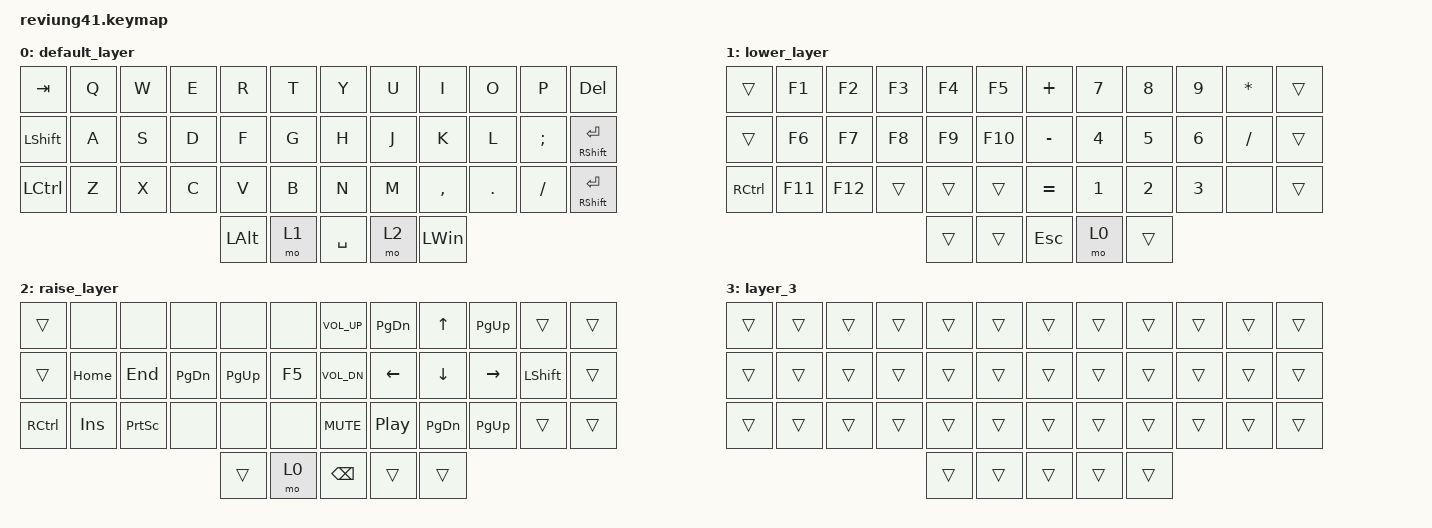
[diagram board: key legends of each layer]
/*
 * Copyright (c) 2020 The ZMK Contributors
 *
 * SPDX-License-Identifier: MIT
 */

#include <behaviors.dtsi>
#include <dt-bindings/zmk/keys.h>

/ {
    combos {
        compatible = "zmk,combos";

        U_I {
            bindings = <&kp DOUBLE_QUOTES>;
            key-positions = <7 8>;
        };

        I_O {
            bindings = <&kp SINGLE_QUOTE>;
            key-positions = <8 9>;
        };

        O_P {
            bindings = <&kp QUESTION>;
            key-positions = <9 10>;
        };

        J_K {
            bindings = <&kp BACKSPACE>;
            key-positions = <19 20>;
        };

        K_L {
            bindings = <&kp ENTER>;
            key-positions = <20 21>;
        };

        L_Semi {
            bindings = <&kp BACKSLASH>;
            key-positions = <21 22>;
        };

        M_Coma {
            bindings = <&kp RIGHT_PARENTHESIS>;
            key-positions = <31 32>;
        };

        Coma_Dot {
            bindings = <&kp RIGHT_BRACKET>;
            key-positions = <32 33>;
        };

        Dot_Backslash {
            bindings = <&kp RIGHT_BRACE>;
            key-positions = <33 34>;
        };

        Q_W {
            bindings = <&kp EXCLAMATION>;
            key-positions = <1 2>;
        };

        W_E {
            bindings = <&kp PERCENT>;
            key-positions = <2 3>;
        };

        E_R {
            bindings = <&kp UNDER>;
            key-positions = <3 4>;
        };

        A_S {
            bindings = <&kp AMPS>;
            key-positions = <13 14>;
        };

        S_D {
            bindings = <&kp ESC>;
            key-positions = <14 15>;
        };

        D_F {
            bindings = <&kp COLON>;
            key-positions = <15 16>;
        };

        Z_X {
            bindings = <&kp LEFT_BRACE>;
            key-positions = <25 26>;
        };

        X_C {
            bindings = <&kp LEFT_BRACKET>;
            key-positions = <26 27>;
        };

        C_V {
            bindings = <&kp LEFT_PARENTHESIS>;
            key-positions = <28 29>;
        };

        U_I_O {
            bindings = <&kp CARET>;
            key-positions = <7 8 9>;
        };

        I_O_P {
            bindings = <&kp TILDE>;
            key-positions = <8 9 10>;
        };

        W_E_R {
            bindings = <&kp DOLLAR>;
            key-positions = <2 3 4>;
        };

        Q_W_E {
            bindings = <&kp GRAVE>;
            key-positions = <1 2 3>;
        };

        M_Coma_Dot {
            bindings = <&kp ASTRK>;
            key-positions = <31 32 33>;
        };

        Coma_Dot_Slash {
            bindings = <&kp SLASH>;
            key-positions = <32 33 34>;
        };

        Z_X_C {
            bindings = <&kp PIPE>;
            key-positions = <25 26 27>;
        };

        R_T {
            bindings = <&kp EQUAL>;
            key-positions = <4 5>;
        };

        F_G {
            bindings = <&kp HASH>;
            key-positions = <16 17>;
        };

        V_B {
            bindings = <&kp LESS_THAN>;
            key-positions = <28 29>;
        };

        Y_U {
            bindings = <&kp PLUS>;
            key-positions = <6 7>;
        };

        H_J {
            bindings = <&kp MINUS>;
            key-positions = <18 19>;
        };

        N_M {
            bindings = <&kp GREATER_THAN>;
            key-positions = <30 31>;
        };

        S_D_F {
            bindings = <&kp HOME>;
            key-positions = <14 15 16>;
        };

        J_K_L {
            bindings = <&kp END>;
            key-positions = <19 20 21>;
        };

        A_S_D {
            bindings = <&kp CAPSLOCK>;
            key-positions = <13 14 15>;
        };
    };

    macros {
        TAB_RIGHT: TAB_RIGHT {
            compatible = "zmk,behavior-macro";
            label = "new_macro";
            #binding-cells = <0>;
            bindings =
                <&macro_tap>,
                <&kp LEFT_CONTROL &kp PAGE_DOWN>;
        };
    };

    keymap {
        compatible = "zmk,keymap";

        default_layer {
            // -------------------------------------------------------------------------------------
            // |  TAB |  Q  |  W  |  E  |  R  |  T  |   |  Y  |  U   |  I  |  O  |  P  |   BKSP    |
            // | CTRL |  A  |  S  |  D  |  F  |  G  |   |  H  |  J   |  K  |  L  |  ;  |    '      |
            // | SHFT |  Z  |  X  |  C  |  V  |  B  |   |  N  |  M   |  ,  |  .  |  /  | SHFT(RET) |
            //                         | ALT | LWR | SPC | RSE  | ALT |

            bindings = <
         &kp TAB  &kp Q  &kp W  &kp E     &kp R  &kp T             &kp Y         &kp U      &kp I    &kp O     &kp P        &kp DEL
  &kp LEFT_SHIFT  &kp A  &kp S  &kp D     &kp F  &kp G             &kp H         &kp J      &kp K    &kp L  &kp SEMI  &mt RSHFT RET
&kp LEFT_CONTROL  &kp Z  &kp X  &kp C     &kp V  &kp B             &kp N         &kp M  &kp COMMA  &kp DOT  &kp FSLH  &mt RSHFT RET
                                       &kp LALT  &mo 1  &kp SPACE  &mo 2  &kp LEFT_WIN
            >;
        };

        lower_layer {
            // ----------------------------------------------------------------------------------
            // |    |  !  |  @  |  #  |  $  |  %  |   |  ^  |  &  |  *  |  (  |  )  |    DEL    |
            // |    |  _  |  +  |  {  |  }  | "|" |   | LFT | DWN |  UP | RGT |  `  |     ~     |
            // |    | ESC | GUI | ALT | CAPS|  "  |   | HOME| END | PGUP| PGDN| PRSC| SHFT(RET) |
            //                       |     |     | RET | ADJ |     |

            bindings = <
           &trans   &kp F1   &kp F2  &kp F3  &kp F4   &kp F5            &kp PLUS  &kp NUMBER_7  &kp NUMBER_8  &kp NUMBER_9  &kp ASTERISK  &trans
           &trans   &kp F6   &kp F7  &kp F8  &kp F9  &kp F10           &kp MINUS  &kp NUMBER_4  &kp NUMBER_5  &kp NUMBER_6     &kp SLASH  &trans
&kp RIGHT_CONTROL  &kp F11  &kp F12  &trans  &trans   &trans           &kp EQUAL  &kp NUMBER_1  &kp NUMBER_2  &kp NUMBER_3         &none  &trans
                                             &trans   &trans  &kp ESC      &mo 0        &trans
            >;
        };

        raise_layer {
            // -----------------------------------------------------------------------------------------
            // |    |  1  |  2  |  3  |  4  |  5  |   |  6  |  7  |  8  |  9  |  0  | DEL |
            // |    |  -  |  =  |  [  |  ]  |  \  |   | F1  | F2  | F3  | F4  | F5  | F6  |
            // |    | ESC | GUI | ALT | CAPS|  "  |   | F7  | F8  | F9  | F10 | F11 | F12 |
            //                       |     | ADJ | BKSP |    |     |

            bindings = <
           &trans       &none            &none          &none      &none   &none            &kp C_VOL_UP     &kp PAGE_DOWN         &kp UP  &kp PG_UP          &trans  &trans
           &trans    &kp HOME          &kp END  &kp PAGE_DOWN  &kp PG_UP  &kp F5            &kp C_VOL_DN          &kp LEFT       &kp DOWN  &kp RIGHT  &kp LEFT_SHIFT  &trans
&kp RIGHT_CONTROL  &kp INSERT  &kp PRINTSCREEN          &none      &none   &none              &kp C_MUTE  &kp C_PLAY_PAUSE  &kp PAGE_DOWN  &kp PG_UP          &trans  &trans
                                                                  &trans   &mo 0  &kp BSPC        &trans            &trans
            >;
        };

        layer_3 {
            bindings = <
&trans  &trans  &trans  &trans  &trans  &trans          &trans  &trans  &trans  &trans  &trans  &trans
&trans  &trans  &trans  &trans  &trans  &trans          &trans  &trans  &trans  &trans  &trans  &trans
&trans  &trans  &trans  &trans  &trans  &trans          &trans  &trans  &trans  &trans  &trans  &trans
                                &trans  &trans  &trans  &trans  &trans
            >;
        };
    };
};
